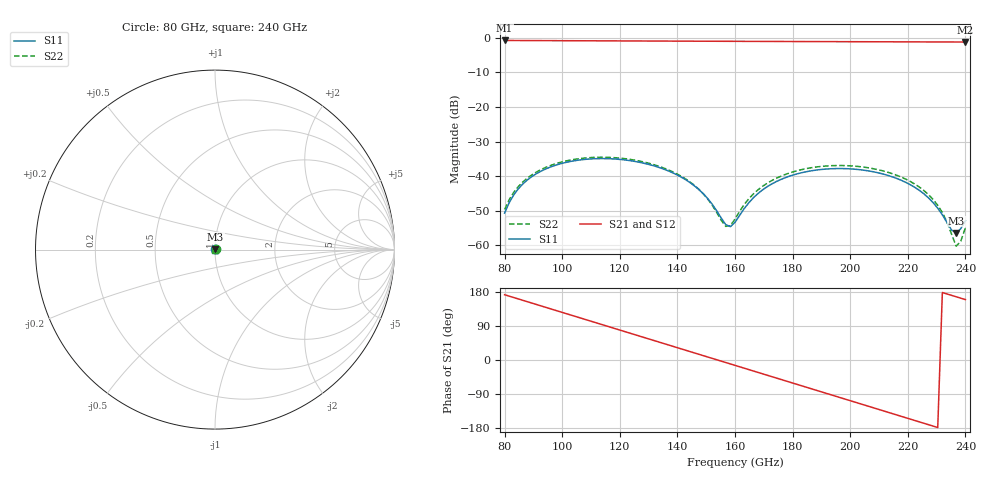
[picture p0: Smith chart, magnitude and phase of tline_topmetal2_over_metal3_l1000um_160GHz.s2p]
#  GHZ S DB R 50
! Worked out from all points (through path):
!   101 points, 80 GHz to 240 GHz, reference 50 ohm
!   highest |S21| = -0.72 dB at 80 GHz (marker M1); lowest = -1.2 dB at 240 GHz (marker M2)
!   group delay of S21, straight-line fit = 6.47 ps
!   lowest |S11| = -56.5 dB at 236.8 GHz (marker M3), VSWR 1.00, Z = 50.1 + j0.0816 ohm
!   |S11| at or under -10 dB: start of sweep to end of sweep
!   |S22| runs from -60.3 to -34.6 dB; largest |S21 - S12| = 1e-13
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80  -50.74 20.2  -0.72 172.2  -0.72 172.2  -49.70 16.4
83.2  -45.44 -3.2  -0.73 164.8  -0.73 164.8  -44.71 -4.4
89.6  -40.09 -27.8  -0.75 149.9  -0.75 149.9  -39.58 -28.1
97.6  -36.90 -51.8  -0.78 131.2  -0.78 131.2  -36.47 -51.8
107.2  -35.24 -78.7  -0.81 108.9  -0.81 108.9  -34.84 -78.5
120  -35.19 -114.2  -0.85 79.0  -0.85 79.0  -34.81 -113.6
134.4  -37.74 -155.3  -0.89 45.5  -0.89 45.5  -37.42 -154.2
147.2  -43.73 161.9  -0.93 15.7  -0.93 15.7  -43.65 163.5
156.8  -54.09 83.9  -0.96 -6.7  -0.96 -6.7  -54.59 76.5
158.4  -54.67 52.4  -0.97 -10.4  -0.97 -10.4  -54.39 42.4
160  -53.42 23.3  -0.97 -14.1  -0.97 -14.1  -52.47 15.4
164.8  -47.74 -22.6  -0.98 -25.3  -0.98 -25.3  -46.59 -24.4
171.2  -43.08 -51.5  -1.00 -40.2  -1.00 -40.2  -42.08 -51.0
187.2  -38.40 -102.1  -1.04 -77.5  -1.04 -77.5  -37.51 -99.7
200  -37.93 -139.0  -1.08 -107.3  -1.08 -107.3  -37.05 -135.5
214.4  -40.17 178.8  -1.11 -140.9  -1.11 -140.9  -39.26 -175.8
222.4  -43.26 153.0  -1.13 -159.5  -1.13 -159.5  -42.32 160.6
228.8  -47.72 126.8  -1.15 -174.5  -1.15 -174.5  -46.80 138.6
232  -51.26 106.4  -1.15 178.1  -1.15 178.1  -50.59 123.4
236.8  -56.54 33.1  -1.16 166.9  -1.16 166.9  -60.33 52.4
238.4  -55.25 1.3  -1.17 163.2  -1.17 163.2  -58.89 0.3
240  -52.99 -20.9  -1.17 159.4  -1.17 159.4  -55.02 -27.6
